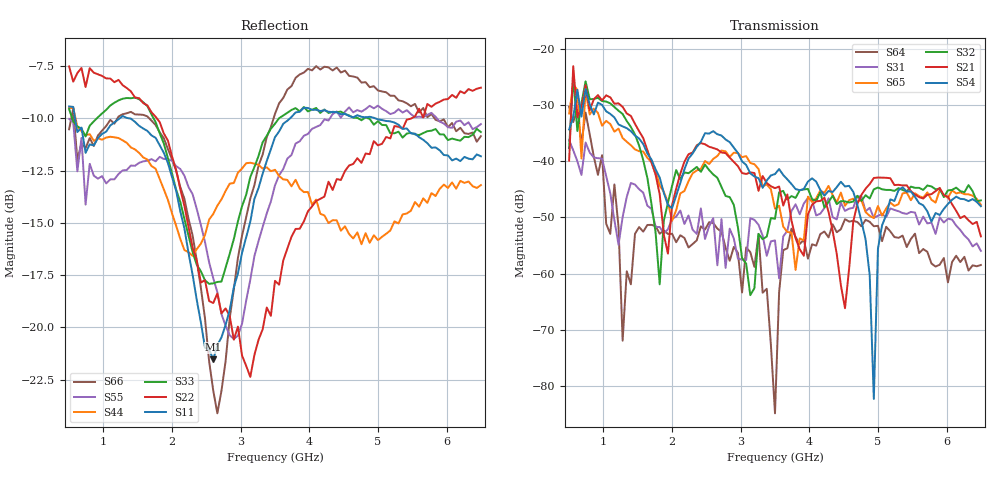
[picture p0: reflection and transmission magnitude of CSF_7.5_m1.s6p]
!Keysight Technologies,M9804A,MY58100912,A.14.10.03
!Date: Thursday, April 27, 2023 10:28:33
!Correction: S11(C  6-Port  )
!S12(C  6-Port  )
!S13(C  6-Port  )
!S14(C  6-Port  )
!S15(C  6-Port  )
!S16(C  6-Port  )
!S21(C  6-Port  )
!S22(C  6-Port  )
!S23(C  6-Port  )
!S24(C  6-Port  )
!S25(C  6-Port  )
!S26(C  6-Port  )
!S31(C  6-Port  )
!S32(C  6-Port  )
!S33(C  6-Port  )
!S34(C  6-Port  )
!S35(C  6-Port  )
!S36(C  6-Port  )
!S41(C  6-Port  )
!S42(C  6-Port  )
!S43(C  6-Port  )
!S44(C  6-Port  )
!S45(C  6-Port  )
!S46(C  6-Port  )
!S51(C  6-Port  )
!S52(C  6-Port  )
!S53(C  6-Port  )
!S54(C  6-Port  )
!S55(C  6-Port  )
!S56(C  6-Port  )
!S61(C  6-Port  )
!S62(C  6-Port  )
!S63(C  6-Port  )
!S64(C  6-Port  )
!S65(C  6-Port  )
!S66(C  6-Port  )
!S6P File: Measurement: :
# Hz S  RI  R 50
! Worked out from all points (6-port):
!   101 points, 500 MHz to 6.5 GHz, reference 50 ohm
!   strongest paths, dB at 500 MHz, 2 GHz, 3.5 GHz, 5 GHz, 6.5 GHz:
!     S54: -34.4, -48.3, -42.3, -55.6, -48.0
!     S21: -39.9, -47.8, -44.8, -42.9, -53.4
!     S32: -37.7, -44.4, -50.2, -44.7, -47.0
!     S65: -31.5, -50.6, -48.5, -48.0, -47.8
!     S31: -36.2, -50.3, -54.1, -49.7, -56.0
!     S64: -30.3, -52.9, -84.8, -51.5, -58.5
!   lowest |S11| = -21.5 dB at 2.6 GHz (marker M1), VSWR 1.18, Z = 42.5 + j2.05 ohm
!   |S11| at or under -10 dB: 587.6 MHz to 1.236 GHz (648.2 MHz wide, 71.1 % of centre); 1.385 GHz to 3.717 GHz (2.332 GHz wide, 91.4 % of centre); 4.965 GHz to end of sweep
